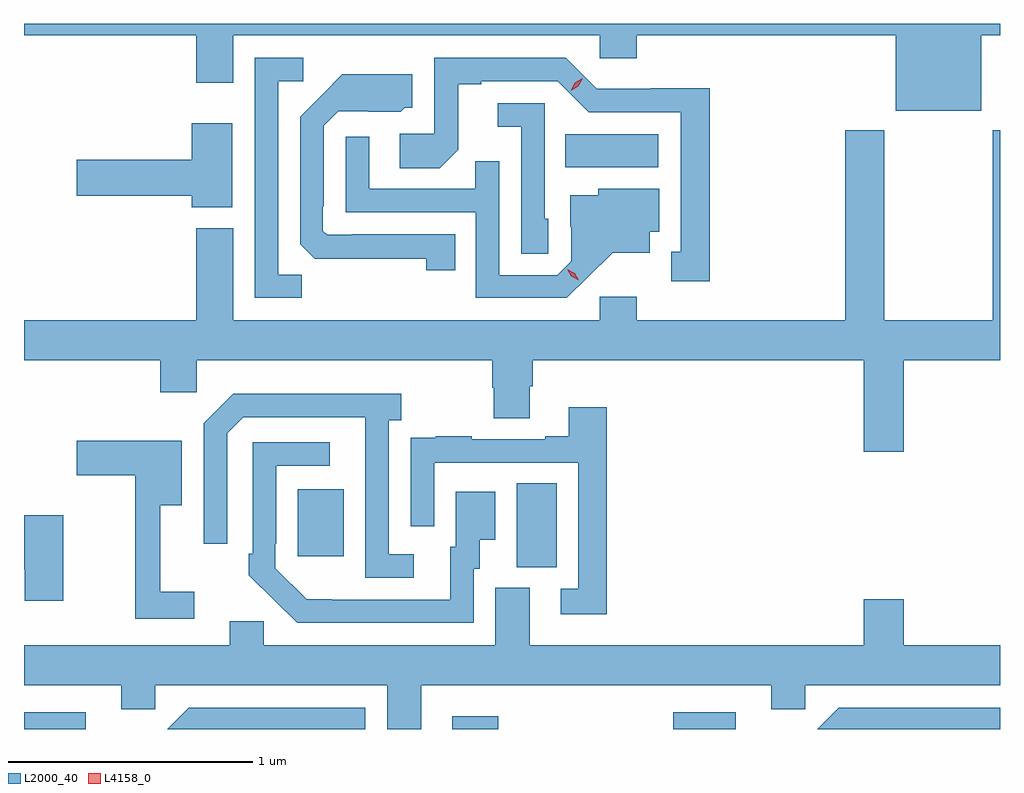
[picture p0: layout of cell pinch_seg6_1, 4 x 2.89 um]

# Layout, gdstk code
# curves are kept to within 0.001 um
import gdstk
lib = gdstk.Library(unit=1e-6, precision=1e-09)
def R(c, l, rs):  # rectangles x0, y0, x1, y1
    for r in rs: c.add(gdstk.rectangle(r[:2], r[2:], *l))
def P(c, l, *ps):  # polygons
    for p in ps: c.add(gdstk.Polygon(p, *l))
L2000_40 = (2000, 40)
L4158_0 = (4158, 0)

pinch_seg6_1 = lib.new_cell('pinch_seg6_1')
R(pinch_seg6_1, L2000_40, [(1060.667,995.108,1060.921,995.178), (1062.423,995.108,1062.611,995.161), (1063.327,995.108,1063.585,995.178), (1062.686,995.773,1062.85,996.116), (1061.789,995.817,1061.977,996.091), (1062.886,997.412,1063.267,997.546)])
P(pinch_seg6_1, L2000_40, [(1060.667,997.952),(1061.372,997.952),(1061.372,997.758),(1061.524,997.758),(1061.524,997.952),(1063.026,997.952),(1063.026,997.859),(1063.178,997.859),(1063.178,997.952),(1064.24,997.952),(1064.24,997.643),(1064.59,997.643),(1064.59,997.952),(1064.667,997.952),(1064.667,998),(1060.667,998)],
  [(1061.805,996.971),(1061.709,996.971),(1061.709,997.764),(1061.812,997.764),(1061.812,997.86),(1061.613,997.86),(1061.613,996.876),(1061.805,996.876)],
  [(1063.477,997.736),(1063.236,997.736),(1063.236,997.734),(1063.014,997.734),(1062.888,997.86),(1062.348,997.86),(1062.348,997.548),(1062.207,997.548),(1062.207,997.408),(1062.371,997.408),(1062.447,997.484),(1062.447,997.752),(1062.541,997.752),(1062.541,997.764),(1062.855,997.764),(1062.981,997.638),(1063.358,997.638),(1063.358,997.065),(1063.319,997.065),(1063.319,996.945),(1063.477,996.945)],
  [(1062.434,997.137),(1062.01,997.137),(1062.01,997.134),(1061.91,997.134),(1061.892,997.152),(1061.892,997.252),(1061.895,997.252),(1061.895,997.581),(1061.955,997.641),(1062.212,997.64),(1062.228,997.656),(1062.259,997.656),(1062.259,997.792),(1061.971,997.792),(1061.799,997.618),(1061.799,997.096),(1061.858,997.037),(1062.316,997.036),(1062.316,996.99),(1062.434,996.99)],
  [(1062.816,997.2),(1062.801,997.2),(1062.801,997.674),(1062.609,997.674),(1062.609,997.577),(1062.705,997.577),(1062.705,997.057),(1062.816,997.057)],
  [(1061.521,997.591),(1061.354,997.591),(1061.354,997.442),(1060.884,997.442),(1060.884,997.295),(1061.354,997.295),(1061.354,997.247),(1061.521,997.247)],
  [(1061.372,996.784),(1060.667,996.784),(1060.667,996.62),(1061.225,996.62),(1061.225,996.489),(1061.376,996.489),(1061.376,996.62),(1062.587,996.62),(1062.587,996.507),(1062.592,996.507),(1062.592,996.382),(1062.739,996.382),(1062.739,996.514),(1062.752,996.514),(1062.752,996.62),(1064.108,996.62),(1064.108,996.246),(1064.272,996.246),(1064.272,996.62),(1064.667,996.62),(1064.667,997.564),(1064.638,997.564),(1064.638,996.784),(1064.193,996.784),(1064.193,997.564),(1064.033,997.564),(1064.033,996.784),(1063.178,996.784),(1063.178,996.88),(1063.026,996.88),(1063.026,996.784),(1061.524,996.784),(1061.524,997.162),(1061.372,997.162)],
  [(1062.976,996.959),(1063.079,997.061),(1063.231,997.061),(1063.231,997.148),(1063.27,997.148),(1063.27,997.324),(1063.02,997.324),(1063.02,997.297),(1062.905,997.297),(1062.905,997.168),(1062.909,997.168),(1062.909,997.026),(1062.852,996.969),(1062.615,996.969),(1062.615,997.436),(1062.517,997.436),(1062.517,997.323),(1062.081,997.323),(1062.081,997.537),(1061.985,997.537),(1061.985,997.227),(1062.519,997.227),(1062.519,996.876),(1062.892,996.876)],
  [(1062.265,995.826),(1062.162,995.826),(1062.162,996.374),(1062.214,996.374),(1062.214,996.484),(1061.524,996.484),(1061.403,996.363),(1061.403,995.868),(1061.499,995.868),(1061.499,996.321),(1061.565,996.387),(1062.065,996.387),(1062.066,995.73),(1062.265,995.73)],
  [(1063.055,996.427),(1062.899,996.427),(1062.899,996.31),(1062.803,996.31),(1062.803,996.297),(1062.503,996.297),(1062.503,996.31),(1062.355,996.31),(1062.355,996.303),(1062.253,996.303),(1062.253,996.194),(1062.252,996.194),(1062.252,995.94),(1062.348,995.94),(1062.348,996.201),(1062.939,996.201),(1062.939,995.685),(1062.867,995.685),(1062.867,995.58),(1063.055,995.58)],
  [(1061.365,995.671),(1061.225,995.671),(1061.225,996.026),(1061.314,996.026),(1061.314,996.291),(1060.884,996.291),(1060.884,996.149),(1061.122,996.149),(1061.122,995.562),(1061.365,995.562)],
  [(1062.51,995.766),(1062.535,995.766),(1062.535,995.885),(1062.598,995.885),(1062.598,996.082),(1062.437,996.082),(1062.437,995.856),(1062.413,995.856),(1062.413,995.64),(1061.826,995.641),(1061.697,995.769),(1061.697,995.869),(1061.7,995.869),(1061.7,996.189),(1061.92,996.189),(1061.92,996.285),(1061.604,996.285),(1061.604,995.827),(1061.589,995.827),(1061.589,995.739),(1061.786,995.544),(1062.51,995.544)],
  [(1060.828,995.986),(1060.667,995.986),(1060.667,995.765),(1060.67,995.765),(1060.67,995.634),(1060.828,995.634)],
  [(1062.295,995.288),(1063.73,995.288),(1063.73,995.19),(1063.869,995.19),(1063.869,995.288),(1064.667,995.288),(1064.667,995.452),(1064.272,995.452),(1064.272,995.641),(1064.108,995.641),(1064.108,995.452),(1062.739,995.452),(1062.739,995.688),(1062.599,995.688),(1062.599,995.452),(1061.649,995.452),(1061.649,995.55),(1061.51,995.55),(1061.51,995.452),(1060.667,995.452),(1060.667,995.288),(1061.066,995.288),(1061.066,995.19),(1061.205,995.19),(1061.205,995.288),(1062.155,995.288),(1062.155,995.108),(1062.295,995.108)],
  [(1062.066,995.196),(1061.342,995.196),(1061.254,995.108),(1062.066,995.108)],
  [(1064.667,995.196),(1064.006,995.196),(1063.918,995.108),(1064.667,995.108)])
P(pinch_seg6_1, L4158_0, [(1062.907,997.725),(1062.907,997.725),(1062.925,997.758),(1062.957,997.776),(1062.957,997.776),(1062.957,997.776),(1062.939,997.744),(1062.908,997.725)],
  [(1062.941,996.948),(1062.91,996.964),(1062.893,996.993),(1062.893,996.994),(1062.893,996.994),(1062.924,996.978),(1062.941,996.948),(1062.941,996.948)])

lib.write_gds('pinch_seg6_1.gds')
